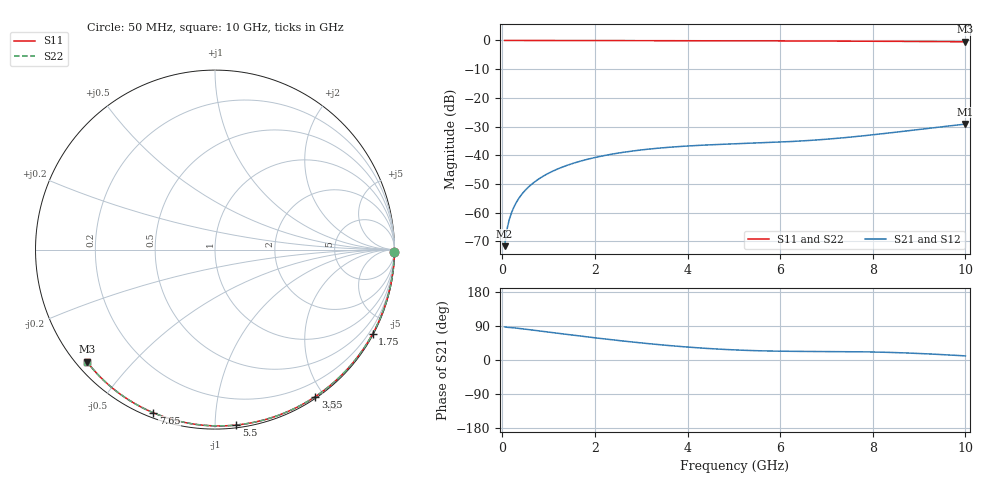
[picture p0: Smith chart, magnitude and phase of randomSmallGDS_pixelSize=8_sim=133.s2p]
! freq	dB(S11)	phase(S11)	dB(S12)	phase(S12)
!  dB(S21)	phase(S21)	dB(S22)	phase(S22)
!S-par simulation data
#  GHz  S  DB  R 50
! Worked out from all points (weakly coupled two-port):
!   200 points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, 50 MHz to 10 GHz, reference 50 ohm
!   highest |S21| = -29.12 dB at 10 GHz (marker M1); lowest = -71.6 dB at 50 MHz (marker M2)
!   lowest |S11| = -0.5 dB at 10 GHz (marker M3), VSWR 37.78, Z = 1.51 - j18.8 ohm
!   |S11| at or under -10 dB: nowhere
!   |S22| runs from -0.5 to 0.0 dB; largest |S21 - S12| = 0
!   S11 on the Smith chart (normalised r, x): 50 MHz: open; 1.75 GHz: 0.03, -3.99; 3.55 GHz: 0.02, -1.89; 5.5 GHz: 0.02, -1.13; 7.65 GHz: 0.02, -0.69; 10 GHz: 0.03, -0.38
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0.05  -0.00 -0.8  -71.63 87.2  -71.63 87.2  -0.00 -0.8
0.1  -0.00 -1.6  -65.82 86.4  -65.82 86.4  -0.00 -1.6
0.15  -0.00 -2.5  -62.40 85.9  -62.40 85.9  -0.00 -2.5
0.2  -0.00 -3.3  -59.95 85.4  -59.95 85.4  -0.00 -3.3
0.25  -0.00 -4.1  -58.04 84.8  -58.04 84.8  -0.00 -4.1
0.35  -0.00 -5.7  -55.15 83.5  -55.15 83.5  -0.00 -5.7
0.5  -0.01 -8.2  -52.09 81.3  -52.09 81.3  -0.01 -8.2
0.7  -0.01 -11.4  -49.22 78.3  -49.22 78.3  -0.01 -11.4
1  -0.02 -16.2  -46.22 73.7  -46.22 73.7  -0.02 -16.2
1.35  -0.03 -21.8  -43.77 68.3  -43.77 68.3  -0.03 -21.8
1.75  -0.04 -28.2  -41.75 62.2  -41.75 62.2  -0.04 -28.2
2.5  -0.05 -39.8  -39.23 51.6  -39.23 51.6  -0.05 -39.8
3.4  -0.07 -53.4  -37.47 40.3  -37.47 40.3  -0.07 -53.4
3.55  -0.07 -55.7  -37.26 38.7  -37.26 38.7  -0.07 -55.7
4.3  -0.09 -66.5  -36.48 31.5  -36.48 31.5  -0.09 -66.5
5.05  -0.12 -77.0  -35.97 26.5  -35.97 26.5  -0.12 -77.0
5.5  -0.13 -83.1  -35.71 24.5  -35.71 24.5  -0.13 -83.1
6.7  -0.19 -98.8  -34.75 22.5  -34.75 22.5  -0.19 -98.8
7.65  -0.25 -110.7  -33.44 21.8  -33.44 21.8  -0.25 -110.7
8.35  -0.30 -119.2  -32.22 20.1  -32.22 20.1  -0.30 -119.2
9.2  -0.38 -129.4  -30.62 16.1  -30.62 16.1  -0.38 -129.4
10  -0.46 -138.8  -29.12 10.8  -29.12 10.8  -0.46 -138.8
